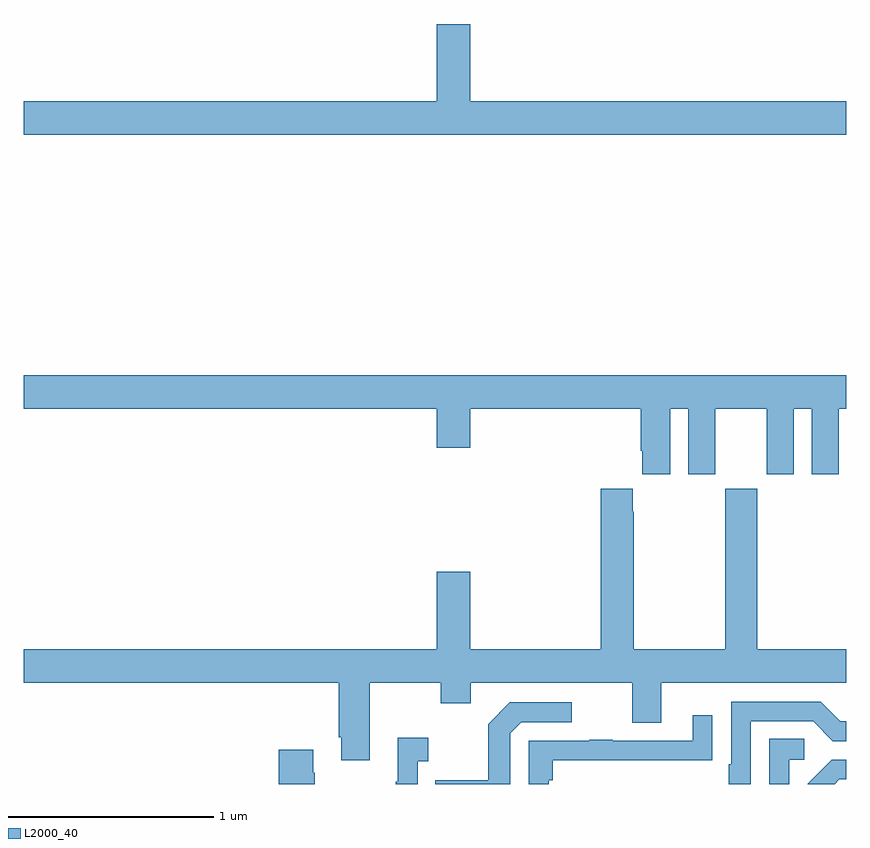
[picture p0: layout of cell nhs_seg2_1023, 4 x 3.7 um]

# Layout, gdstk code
import gdstk
lib = gdstk.Library(unit=1e-6, precision=1e-09)
def P(c, l, *ps):  # polygons
    for p in ps: c.add(gdstk.Polygon(p, *l))
L2000_40 = (2000, 40)

nhs_seg2_1023 = lib.new_cell('nhs_seg2_1023')
P(nhs_seg2_1023, L2000_40, [(167,661.12),(165.172,661.12),(165.172,661.495),(165.008,661.495),(165.008,661.12),(163,661.12),(163,660.956),(167,660.956)],
  [(166.144,659.624),(166.232,659.624),(166.232,659.307),(166.363,659.307),(166.363,659.624),(166.613,659.624),(166.613,659.307),(166.744,659.307),(166.744,659.624),(166.832,659.624),(166.832,659.307),(166.963,659.307),(166.963,659.624),(167,659.624),(167,659.788),(163,659.788),(163,659.624),(165.008,659.624),(165.008,659.436),(165.172,659.436),(165.172,659.624),(166.001,659.624),(166.001,659.419),(166.007,659.419),(166.007,659.307),(166.144,659.307)],
  [(164.683,658.292),(165.028,658.292),(165.028,658.193),(165.175,658.193),(165.175,658.292),(165.959,658.292),(165.959,658.098),(166.099,658.098),(166.099,658.292),(167,658.292),(167,658.456),(166.566,658.456),(166.566,659.236),(166.411,659.236),(166.411,658.456),(165.966,658.456),(165.966,659.123),(165.961,659.123),(165.961,659.236),(165.806,659.236),(165.806,658.456),(165.172,658.456),(165.172,658.831),(165.008,658.831),(165.008,658.456),(163,658.456),(163,658.292),(164.531,658.292),(164.531,658.027),(164.543,658.027),(164.543,657.915),(164.683,657.915)],
  [(166.536,658.104),(166.839,658.104),(166.935,658.008),(167,658.008),(167,658.104),(166.971,658.104),(166.875,658.2),(166.44,658.2),(166.44,657.895),(166.427,657.895),(166.427,657.8),(166.536,657.8)],
  [(165.366,658.047),(165.42,658.101),(165.664,658.101),(165.664,658.197),(165.363,658.197),(165.258,658.091),(165.258,657.819),(165.001,657.819),(165.001,657.8),(165.366,657.8)],
  [(165.552,657.818),(165.572,657.818),(165.572,657.915),(166.247,657.915),(166.247,657.916),(166.349,657.916),(166.349,658.135),(166.253,658.135),(166.253,658.011),(165.863,658.011),(165.863,658.016),(165.751,658.016),(165.751,658.011),(165.456,658.011),(165.456,657.8),(165.552,657.8)],
  [(164.916,657.911),(164.968,657.911),(164.968,658.024),(164.819,658.024),(164.819,657.811),(164.808,657.811),(164.808,657.8),(164.916,657.8)],
  [(166.722,657.918),(166.795,657.918),(166.795,658.019),(166.626,658.019),(166.626,657.8),(166.722,657.8)],
  [(164.415,657.854),(164.407,657.854),(164.407,657.967),(164.24,657.967),(164.24,657.8),(164.415,657.8)],
  [(166.966,657.822),(167,657.822),(167,657.918),(166.928,657.918),(166.812,657.802),(166.812,657.8),(166.944,657.8)])

lib.write_gds('nhs_seg2_1023.gds')
